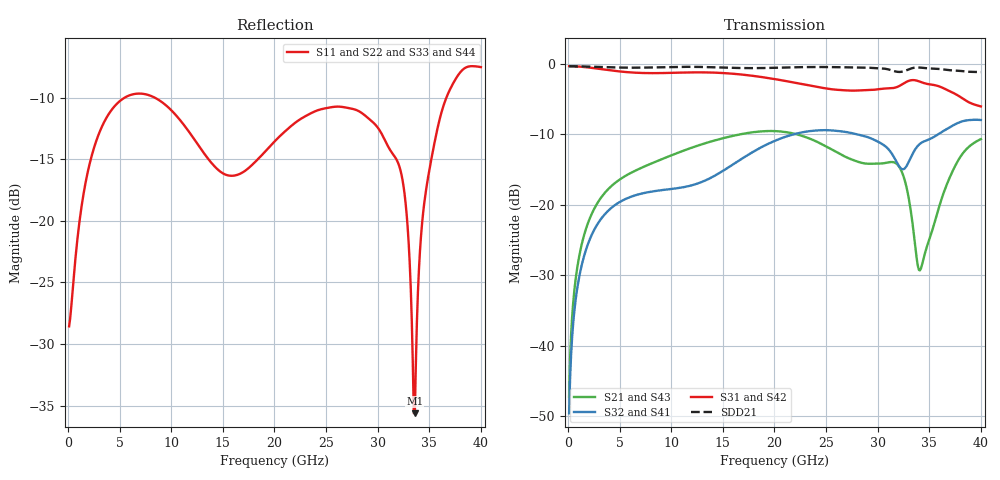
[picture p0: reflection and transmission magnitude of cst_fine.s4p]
! P_ts6_finger_diff: gold-finger pair 0.7 × 2.1 mm, pitch 1 mm, between GND fingers (gap 0.3 mm), every plane cut back
! stackup: ThunderScope Rev5.3 6-layer (FR408HR / FR-4, from the board file)
! ports: 1 P near, 2 N near, 3 P far, 4 N far
! CST Studio Suite 2025.5 Release from 2025-05-30, time domain (FIT, hexahedral, PBA), 390830 mesh cells, 118 s
! mesh: {'lpw': 30.0, 'lpb': 30.0, 'minstep': 0.0, 'ratio': 20}; ports: port 1 (face); port 2 (face); port 3 (face); port 4 (face)
! interpolated from CST's 1001 samples to the case grid
# Hz S RI R 50
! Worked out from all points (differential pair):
!   400 points, 100 MHz to 40 GHz, reference 50 ohm
!   strongest paths, dB at 100 MHz, 10.1 GHz, 20.1 GHz, 30.1 GHz, 40 GHz:
!     S31: -0.3, -1.3, -2.2, -3.6, -6.0
!     S42: -0.3, -1.3, -2.2, -3.6, -6.0
!     S32: -49.6, -17.7, -10.9, -11.1, -8.0
!     S41: -49.6, -17.7, -10.9, -11.1, -7.9
!     S21: -47.2, -12.9, -9.5, -14.1, -10.7
!     S43: -47.2, -12.9, -9.5, -14.1, -10.7
!   taken as a pair (ports 1,2 in; 3,4 out), SDD21 dB: -0.3, -0.4, -0.6, -0.6, -1.2
!   lowest |S11| = -35.6 dB at 33.6 GHz (marker M1), VSWR 1.03, Z = 49 + j1.26 ohm
!   |S11| at or under -10 dB: start of sweep to 5.461 GHz; 8.424 GHz to 36.65 GHz (28.23 GHz wide, 125 % of centre)
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1e8  -0.036 0.00974  0.00174 0.00402  0.9631 -0.0305  0.00144 -0.003
     0.00174 0.00402  -0.036 0.00974  0.00144 -0.003  0.9631 -0.0305
     0.9631 -0.0305  0.00144 -0.003  -0.036 0.00974  0.00174 0.00402
     0.00144 -0.003  0.9631 -0.0305  0.00174 0.00402  -0.036 0.00974
7.3e9  0.2728 -0.1822  0.1287 -0.1343  -0.4671 -0.724  -0.0397 0.1147
       0.1287 -0.1343  0.2723 -0.1829  -0.0396 0.1145  -0.4671 -0.724
       -0.4671 -0.724  -0.0396 0.1145  0.2723 -0.1829  0.1287 -0.1343
       -0.0397 0.1147  -0.4671 -0.724  0.1287 -0.1343  0.2728 -0.1822
1.52e10  -0.1515 0.0305  -0.2962 -0.0446  -0.2222 0.8305  0.1762 -0.0218
         -0.2962 -0.0446  -0.1512 0.0286  0.1767 -0.0214  -0.2222 0.8305
         -0.2222 0.8305  0.1767 -0.0214  -0.1512 0.0286  -0.2962 -0.0446
         0.1762 -0.0218  -0.2222 0.8305  -0.2962 -0.0446  -0.1515 0.0305
2.11e10  0.0956 0.212  0.0426 0.3256  0.7538 0.0554  -0.1287 -0.2757
         0.0426 0.3256  0.0951 0.2114  -0.1295 -0.276  0.7538 0.0554
         0.7538 0.0554  -0.1295 -0.276  0.0951 0.2114  0.0426 0.3256
         -0.1287 -0.2757  0.7538 0.0554  0.0426 0.3256  0.0956 0.212
3.19e10  0.0845 -0.1532  0.0125 -0.1932  -0.6534 -0.2113  0.1649 0.1103
         0.0125 -0.1932  0.0831 -0.1547  0.1643 0.1099  -0.6534 -0.2113
         -0.6534 -0.2113  0.1643 0.1099  0.0831 -0.1548  0.0125 -0.1932
         0.1649 0.1103  -0.6534 -0.2113  0.0125 -0.1932  0.0845 -0.1531
3.36e10  -0.0104 0.0129  -0.0311 -0.044  -0.7345 0.2179  0.2033 0.1379
         -0.0311 -0.044  -0.0105 0.0118  0.203 0.1381  -0.7345 0.2179
         -0.7345 0.2179  0.203 0.1381  -0.0105 0.0119  -0.0311 -0.044
         0.2033 0.1379  -0.7345 0.2179  -0.0311 -0.044  -0.0104 0.0129
4e10  0.155 -0.3916  -0.1455 -0.2541  0.3054 0.3949  -0.0724 -0.395
      -0.1455 -0.2541  0.153 -0.3941  -0.0719 -0.3935  0.3054 0.3949
      0.3054 0.3949  -0.0719 -0.3935  0.153 -0.3941  -0.1455 -0.2541
      -0.0724 -0.395  0.3054 0.3949  -0.1455 -0.2541  0.155 -0.3916
